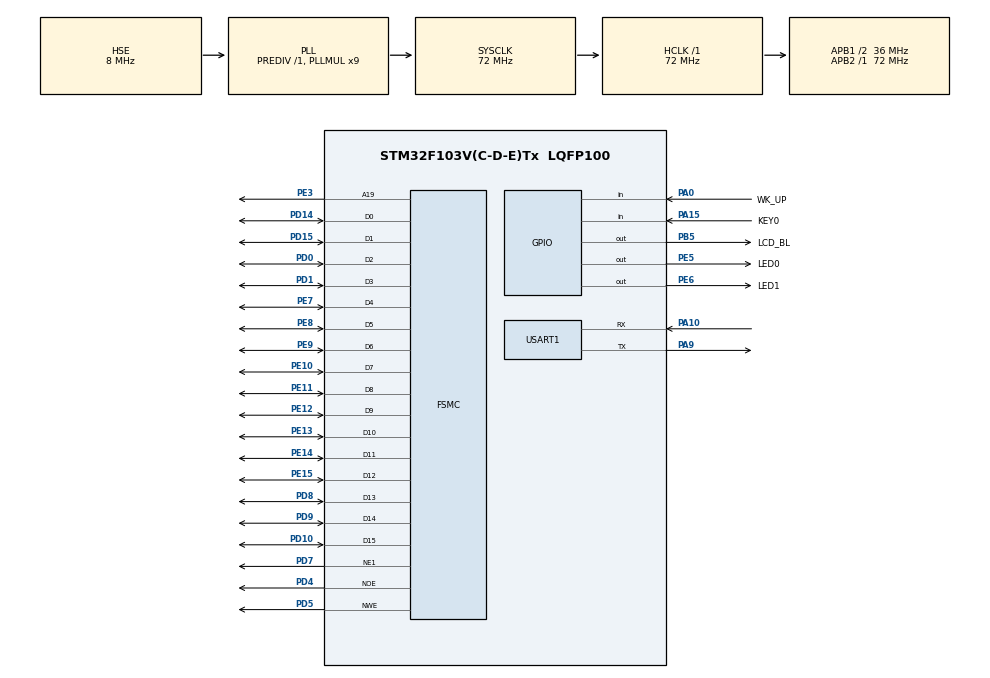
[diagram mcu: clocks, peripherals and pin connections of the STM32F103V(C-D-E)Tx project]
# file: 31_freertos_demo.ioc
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FREERTOS.Tasks01=task01,24,256,mytask01,Default,NULL,Dynamic,NULL,NULL;myTask02,8,256,StartTask02,Default,NULL,Dynamic,NULL,NULL
FSMC.AddressSetupTime1=0
FSMC.DataSetupTime1=15
FSMC.ExtendedAddressSetupTime1=0
FSMC.ExtendedDataSetupTime1=1
FSMC.ExtendedMode1=FSMC_EXTENDED_MODE_ENABLE
Mcu.Family=STM32F1
Mcu.Name=STM32F103V(C-D-E)Tx
Mcu.Package=LQFP100
NVIC.PriorityGroup=NVIC_PRIORITYGROUP_4
NVIC.TIM1_UP_IRQn=true\:15\:0\:false\:false\:true\:false\:false\:true\:true
NVIC.TIM4_IRQn=true\:2\:1\:true\:false\:true\:true\:true\:true\:true
NVIC.TimeBase=TIM1_UP_IRQn
NVIC.TimeBaseIP=TIM1
NVIC.USART1_IRQn=true\:2\:2\:true\:false\:true\:true\:true\:true\:true
OSC_IN.Mode=HSE-External-Oscillator
OSC_IN.Signal=RCC_OSC_IN
OSC_OUT.Mode=HSE-External-Oscillator
OSC_OUT.Signal=RCC_OSC_OUT
PA0-WKUP.GPIO_Label=WK_UP
PA0-WKUP.GPIO_PuPd=GPIO_PULLDOWN
PA0-WKUP.Signal=GPIO_Input
PA10.Mode=Asynchronous
PA10.Signal=USART1_RX
PA13.Mode=Serial_Wire
PA13.Signal=SYS_JTMS-SWDIO
PA14.Mode=Serial_Wire
PA14.Signal=SYS_JTCK-SWCLK
PA15.GPIO_Label=KEY0
PA15.GPIO_PuPd=GPIO_PULLDOWN
PA15.Signal=GPIO_Input
PA9.Mode=Asynchronous
PA9.Signal=USART1_TX
PB5.GPIO_Label=LCD_BL
PB5.GPIO_PuPd=GPIO_PULLUP
PB5.GPIO_Speed=GPIO_SPEED_FREQ_HIGH
PB5.PinState=GPIO_PIN_SET
PB5.Signal=GPIO_Output
PC14-OSC32_IN.Mode=LSE-External-Oscillator
PC14-OSC32_IN.Signal=RCC_OSC32_IN
PC15-OSC32_OUT.Mode=LSE-External-Oscillator
PC15-OSC32_OUT.Signal=RCC_OSC32_OUT
PD0.Mode=16b-d1
PD0.Signal=FSMC_D2
PD1.Mode=16b-d1
PD1.Signal=FSMC_D3
PD10.Mode=16b-d1
PD10.Signal=FSMC_D15
PD14.Mode=16b-d1
PD14.Signal=FSMC_D0
PD15.Mode=16b-d1
PD15.Signal=FSMC_D1
PD4.Mode=Lcd1
PD4.Signal=FSMC_NOE
PD5.Mode=Lcd1
PD5.Signal=FSMC_NWE
PD7.Mode=NorPsramChipSelect1_1
PD7.Signal=FSMC_NE1
PD8.Mode=16b-d1
PD8.Signal=FSMC_D13
PD9.Mode=16b-d1
PD9.Signal=FSMC_D14
PE10.Mode=16b-d1
PE10.Signal=FSMC_D7
PE11.Mode=16b-d1
PE11.Signal=FSMC_D8
PE12.Mode=16b-d1
PE12.Signal=FSMC_D9
PE13.Mode=16b-d1
PE13.Signal=FSMC_D10
PE14.Mode=16b-d1
PE14.Signal=FSMC_D11
PE15.Mode=16b-d1
PE15.Signal=FSMC_D12
PE3.Mode=A19_1
PE3.Signal=FSMC_A19
PE5.GPIO_Label=LED0
PE5.GPIO_PuPd=GPIO_PULLUP
PE5.GPIO_Speed=GPIO_SPEED_FREQ_HIGH
PE5.PinState=GPIO_PIN_SET
PE5.Signal=GPIO_Output
PE6.GPIO_Label=LED1
PE6.GPIO_PuPd=GPIO_PULLUP
PE6.GPIO_Speed=GPIO_SPEED_FREQ_HIGH
PE6.PinState=GPIO_PIN_SET
PE6.Signal=GPIO_Output
PE7.Mode=16b-d1
PE7.Signal=FSMC_D4
PE8.Mode=16b-d1
PE8.Signal=FSMC_D5
PE9.Mode=16b-d1
PE9.Signal=FSMC_D6
ProjectManager.HeapSize=0x200
ProjectManager.StackSize=0x400
ProjectManager.TargetToolchain=STM32CubeIDE
RCC.AHBFreq_Value=72000000
RCC.APB1CLKDivider=RCC_HCLK_DIV2
RCC.APB1Freq_Value=36000000
RCC.APB1TimFreq_Value=72000000
RCC.APB2Freq_Value=72000000
RCC.APB2TimFreq_Value=72000000
RCC.HCLKFreq_Value=72000000
RCC.PLLMUL=RCC_PLL_MUL9
RCC.PLLSourceVirtual=RCC_PLLSOURCE_HSE
RCC.SYSCLKFreq_VALUE=72000000
RCC.SYSCLKSource=RCC_SYSCLKSOURCE_PLLCLK
RCC.USBFreq_Value=72000000
TIM4.AutoReloadPreload=TIM_AUTORELOAD_PRELOAD_ENABLE
TIM4.Period=1000-1
TIM4.Prescaler=7200-1
USART1.VirtualMode=VM_ASYNC
VP_FREERTOS_VS_CMSIS_V2.Mode=CMSIS_V2
VP_SYS_VS_tim1.Mode=TIM1
VP_TIM4_VS_ClockSourceINT.Mode=Internal
board=custom

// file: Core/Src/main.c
/* USER CODE BEGIN Header */
/**
 ****************************************************************************************************
 * @file        main.c
 * @author      ALIENTEK
 * @brief       FreeRTOS_demo code
 * @license     Copyright (C) 2012-2024, ALIENTEK
 ****************************************************************************************************
 * @attention
 *
 * platform     : ALIENTEK M100-STM32F103 board
 * website      : www.alientek.com
 * forum        : www.openedv.com/forum.php
 *
 * change logs  :
 * version      data         notes
 * V1.0         20240409     the first version
 *
 ****************************************************************************************************
 */
/* USER CODE END Header */
#include "main.h"
#include "cmsis_os.h"
#include "tim.h"
#include "usart.h"
#include "gpio.h"
#include "fsmc.h"

/* USER CODE BEGIN Includes */
#include "../../ATK_Middlewares/MALLOC/malloc.h"
#include "../../BSP/LED/led.h"
#include "../../BSP/KEY/key.h"
#include "../../BSP/LCD/lcd.h"
/* USER CODE END Includes */

void SystemClock_Config(void);
void MX_FREERTOS_Init(void);

/* USER CODE BEGIN 0 */
/**
 * @brief   Displays information about the experiment
 * @param   None
 * @retval  None
 */
void stm32f103ve_show_mesg(void)
{
	/* The serial port outputs the experimental information */
	printf("\n");
	printf("********************************\r\n");
	printf("STM32F103\r\n");
	printf("FreeRtos_demo Test\r\n");
	printf("ATOM@ALIENTEK\r\n");
	printf("********************************\r\n");
	printf("\r\n");
}
/* USER CODE END 0 */

int main(void)
{

  /* MCU Configuration--------------------------------------------------------*/

  /* Reset of all peripherals, Initializes the Flash interface and the Systick. */
  HAL_Init();

  /* Configure the system clock */
  SystemClock_Config();

  /* Initialize all configured peripherals */
  MX_GPIO_Init();
  MX_USART1_UART_Init();
  MX_FSMC_Init();
  MX_TIM4_Init();
  /* USER CODE BEGIN 2 */
  lcd_init();                         /* Initialize LCD */
  my_mem_init(SRAMIN);                /* Initialize the internal SRAM memory pool */
  stm32f103ve_show_mesg();

  lcd_show_string(30, 50, 200, 16, 16, "STM32", RED);
  lcd_show_string(30, 70, 200, 16, 16, "FreeRTOS TEST", RED);
  lcd_show_string(30, 90, 200, 16, 16, "ATOM@ALIENTEK", RED);
  /* USER CODE END 2 */

  /* Init scheduler */
  osKernelInitialize();

  /* Call init function for freertos objects (in freertos.c) */
  MX_FREERTOS_Init();

  /* Start scheduler */
  osKernelStart();

  /* We should never get here as control is now taken by the scheduler */
  /* Infinite loop */
  while (1)
  {

  }
}

void SystemClock_Config(void)
{
  RCC_OscInitTypeDef RCC_OscInitStruct = {0};
  RCC_ClkInitTypeDef RCC_ClkInitStruct = {0};

  /** Initializes the RCC Oscillators according to the specified parameters
  * in the RCC_OscInitTypeDef structure.
  */
  RCC_OscInitStruct.OscillatorType = RCC_OSCILLATORTYPE_HSE;
  RCC_OscInitStruct.HSEState = RCC_HSE_ON;
  RCC_OscInitStruct.HSEPredivValue = RCC_HSE_PREDIV_DIV1;
  RCC_OscInitStruct.HSIState = RCC_HSI_ON;
  RCC_OscInitStruct.PLL.PLLState = RCC_PLL_ON;
  RCC_OscInitStruct.PLL.PLLSource = RCC_PLLSOURCE_HSE;
  RCC_OscInitStruct.PLL.PLLMUL = RCC_PLL_MUL9;
  if (HAL_RCC_OscConfig(&RCC_OscInitStruct) != HAL_OK)
  {
    Error_Handler();
  }

  /** Initializes the CPU, AHB and APB buses clocks
  */
  RCC_ClkInitStruct.ClockType = RCC_CLOCKTYPE_HCLK|RCC_CLOCKTYPE_SYSCLK
                              |RCC_CLOCKTYPE_PCLK1|RCC_CLOCKTYPE_PCLK2;
  RCC_ClkInitStruct.SYSCLKSource = RCC_SYSCLKSOURCE_PLLCLK;
  RCC_ClkInitStruct.AHBCLKDivider = RCC_SYSCLK_DIV1;
  RCC_ClkInitStruct.APB1CLKDivider = RCC_HCLK_DIV2;
  RCC_ClkInitStruct.APB2CLKDivider = RCC_HCLK_DIV1;

  if (HAL_RCC_ClockConfig(&RCC_ClkInitStruct, FLASH_LATENCY_2) != HAL_OK)
  {
    Error_Handler();
  }
}

void HAL_TIM_PeriodElapsedCallback(TIM_HandleTypeDef *htim)
{
  if (htim->Instance == TIM1) {
    HAL_IncTick();
  }
}

void Error_Handler(void)
{
  __disable_irq();
  while (1)
  {
  }
}

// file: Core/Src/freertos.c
/* USER CODE BEGIN Header */
/**
  ******************************************************************************
  * File Name          : freertos.c
  * Description        : Code for freertos applications
  ******************************************************************************
  * @attention
  *
  * Copyright (c) 2024 STMicroelectronics.
  * All rights reserved.
  *
  * This software is licensed under terms that can be found in the LICENSE file
  * in the root directory of this software component.
  * If no LICENSE file comes with this software, it is provided AS-IS.
  *
  ******************************************************************************
  */
/* USER CODE END Header */

#include "FreeRTOS.h"
#include "task.h"
#include "main.h"
#include "cmsis_os.h"

/* USER CODE BEGIN Includes */
#include "led.h"
#include "usart.h"
/* USER CODE END Includes */

/* Definitions for task01 */
osThreadId_t task01Handle;
const osThreadAttr_t task01_attributes = {
  .name = "task01",
  .stack_size = 256 * 4,
  .priority = (osPriority_t) osPriorityNormal,
};
/* Definitions for myTask02 */
osThreadId_t myTask02Handle;
const osThreadAttr_t myTask02_attributes = {
  .name = "myTask02",
  .stack_size = 256 * 4,
  .priority = (osPriority_t) osPriorityLow,
};

void mytask01(void *argument);
void StartTask02(void *argument);

void MX_FREERTOS_Init(void); /* (MISRA C 2004 rule 8.1) */

void MX_FREERTOS_Init(void) {

  /* Create the thread(s) */
  /* creation of task01 */
  task01Handle = osThreadNew(mytask01, NULL, &task01_attributes);

  /* creation of myTask02 */
  myTask02Handle = osThreadNew(StartTask02, NULL, &myTask02_attributes);

}

void mytask01(void *argument)
{
  /* USER CODE BEGIN mytask01 */
  /* Infinite loop */
	while(1)
    {
		LED0_TOGGLE();
	    vTaskDelay(1000);
    }
  /* USER CODE END mytask01 */
}

void StartTask02(void *argument)
{
  /* USER CODE BEGIN StartTask02 */
  /* Infinite loop */
	float num_float = 0.0;
	while(1)
	{
		num_float += 0.01;
		printf("num_float:%.2f\r\n",num_float);
		vTaskDelay(500);
	}
  /* USER CODE END StartTask02 */
}
